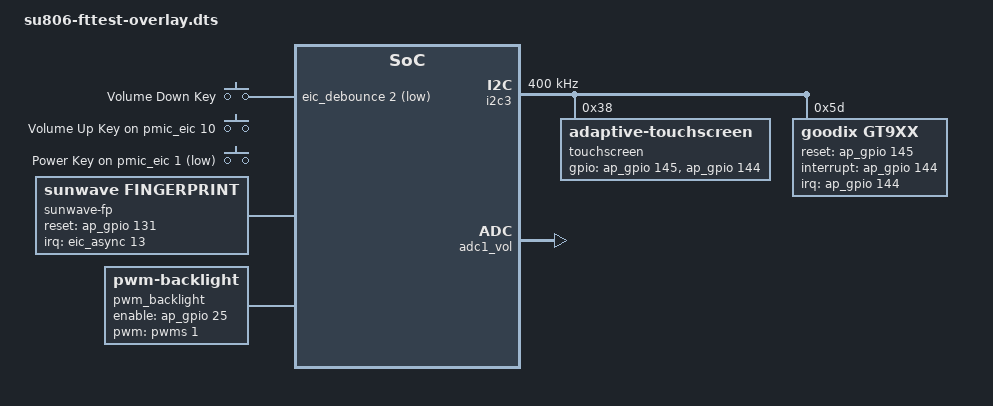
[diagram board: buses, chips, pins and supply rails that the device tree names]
/*
 * Spreadtrum sharkle sp9832e board DTS file
 *
 * Copyright (C) 2019, Spreadtrum Communications Inc.
 *
 * This file is licensed under a dual GPLv2 or X11 license.
 */
/dts-v1/;
/plugin/;
#include <dt-bindings/input/input.h>
#include <dt-bindings/gpio/gpio.h>

#include <dt-bindings/input/input.h>
#include <dt-bindings/gpio/gpio.h>

/ {
	/*
	* When create a new node, we should use the key word __overlay__,
	* otherwise u-boot can not analyze it.
	*/
	fragment {
		target-path = "/";
		__overlay__ {
			gpio-keys {
				compatible = "gpio-keys";

				key-volumedown {
					label = "Volume Down Key";
					linux,code = <KEY_VOLUMEDOWN>;
					gpios = <&eic_debounce 2 GPIO_ACTIVE_LOW>;/*changed by yangjiakun 2020-6-8*/
					debounce-interval = <2>;
					wakeup-source;
				};

				key-volumeup {
					label = "Volume Up Key";
					linux,code = <KEY_VOLUMEUP>;
					gpios = <&pmic_eic 10 GPIO_ACTIVE_HIGH>;
					debounce-interval = <2>;
					wakeup-source;
				};

				key-power {
					label = "Power Key";
					linux,code = <KEY_POWER>;
					gpios = <&pmic_eic 1 GPIO_ACTIVE_LOW>;
					debounce-interval = <2>;
					wakeup-source;
				};
			};

			sunwave-fp {
				compatible = "sunwave,fingerprint";
				sunwave,reset-gpio = <&ap_gpio 131 0>;
				sunwave,irq-gpio = <&eic_async 13 0>;
			};

			pwm_backlight: sprd_backlight {
				compatible = "pwm-backlight";
				pwms = <&pwms 1 20000>;
				pwm-names = "backlight";
				pwm-bl-invert;
				enable-gpios = <&ap_gpio 25 0>;
				brightness-levels = <
								  2   2   2   2
					  2   2   2   3   4   5   6   7   8   9
					 10  11  12  13  14  15  16  17  18  19
					 20  21  22  23  24  25  26  27  28  29
					 30  31  32  33  34  35  36  37  38  39
					 40  41  42  43  44  45  46  47  48  49
					 50  51  52  53  54  55  56  57  58  59
					 60  61  62  63  64  65  66  67  68  69
					 70  71  72  73  74  75  76  77  78  79
					 80  81  82  83  84  85  86  87  88  89
					 90  91  92  93  94  95  96  97  98  99
					100 101 102 103 104 105 106 107 108 109
					110 111 112 113 114 115 116 117 118 119
					120 121 122 123 124 125 126 127 128 129
					130 131 132 133 134 135 136 137 138 139
					140 141 142 143 144 145 146 147 148 149
					150 151 152 153 154 155 156 157 158 159
					160 161 162 163 164 165 166 167 168 169
					170 171 172 173 174 175 176 177 178 179
					180 181 182 183 184 185 186 187 188 189
					190 191 192 193 194 195 196 197 198 199
					200 201 202 203 204 205 206 207 208 209
					210 211 212 213 214 215 216 217 218 219
					220 221 222 223 224 225 226 227 228 229
					230 231 232 233 234 235 236 237 238 239
					240 241 242 243 244 245 246 247 248 249
					250 251
					>;
				default-brightness-level = <33>;
			};

		};
	};
};

&i2c2 {
	status = "disabled";
	clock-frequency = <400000>;
	bma2x2@19{
		compatible = "BOSCH,bma2x2";
		reg = <0x19>;
		gpios = <&ap_gpio 55 GPIO_ACTIVE_HIGH>;
	};

	akm-09911@0d{
		compatible = "ak,akm099xx";
		reg = <0x0d>;
		gpios = <&ap_gpio 53 GPIO_ACTIVE_HIGH>;
	};

	ltr-558als@23{
		compatible = "LITEON,ltr_558als";
		reg = <0x23>;
		gpios = <&ap_gpio 52 GPIO_ACTIVE_HIGH>;
		sensitive = <1000 40 35 1200 1000 48>;
		luxcorrection = <3500>;
	};
	
	mpu6050@68{
                compatible = "invn,mpu6050";
                reg = <0x68>;
                gpios = <&ap_gpio 125 0>;
        };

        stk3x1x@48 {
                compatible = "stk,stk3x1x";
                reg = <0x48>;
                gpios = <&ap_gpio 90 0>;
        };
};

&i2c3 {
	status = "okay";
	clock-frequency = <400000>;

	touchscreen@38 {
		compatible = "adaptive-touchscreen";
		reg = <0x38>;
		gpios = <&ap_gpio 145 GPIO_ACTIVE_HIGH
			&ap_gpio 144 GPIO_ACTIVE_HIGH>;
		controller = "focaltech,ft5436";
		virtualkeys = <580 60 1320 60 45
				172 360 1320 60 45
				158 600 1320 60 45>;
		surface-width = <720>;
		surface-height = <1280>;
		private-data {
			a8 = /bits/ 8 <0x5A>;
		};
	};
	
	goodix@5d {
            compatible = "goodix,gt9xx";
            reg = <0x5d>;
			interrupt-parent = <&ap_gpio>;
            interrupts = <144 0x2008>;
            reset-gpios = <&ap_gpio 145 0x0>;
            interrupt-gpios = <&ap_gpio 144 0x2002>;
            goodix,panel-coords = <0 0 720 1360>;
            goodix,display-coords = <0 0 720 1280>;
            goodix,button-map = <139 102 158>;
            goodix,enable-power-off;
            goodix,product-id = <968 915 9147 9157 5668>;
            goodix,fw_name = "gtp_fw.bin";
            goodix,have-touch-key;
            goodix,driver-send-cfg;
			goodix,cfg-data0-0 = [
                        FF D0 02 00 05 05 05 00 01 00
                        00 0F 50 3C 53 11 00 00 00 00
                        14 17 19 1E 0A 04 00 00 00 00
                        00 00 53 00 14 00 00 84 00 00
                        3C 19 19 64 1E 28 8B 0B 0C 37
                        39 0C 08 20 33 00 03 02 24 00
                        00 23 50 80 14 02 00 00 54 B1
                        2A 99 32 8B 39 80 41 78 48 71
                        00 00 00 00 00 00 00 F0 50 3C
                        FF FF 27 00 00 00 0E 14 14 03
                        04 00 21 64 0A 00 00 00 00 00
                        00 00 00 00 00 00 00 00 00 00
                        00 00 00 00 00 00 00 00 00 00
                        32 20 50 3C 3C 00 00 00 00 00
                        01 08 02 09 03 0A 04 0B 05 0C
                        06 0D FF FF 0C 0D 0E 0F 10 11
                        12 13 14 16 15 07 08 09 06 05
                        04 03 02 01 00 0A FF FF FF FF
                        00 00 00 00 00 00 00 00 00 00
                        00 00 00 00 3C 00 05 1E 00 02
                        2A 1E 19 14 02 00 03 0A 05 00
                        00 00 00 00 00 00 01 FF FF 86
                        22 03 00 00 33 00 0F 00 00 00
                        46 32 50 00 00 00 90 4D 01
                ];
                 goodix,cfg-data2-0 = [
                        43 D0 02 00 05 0A 35 00 01 08
                        28 05 50 32 03 05 00 00 FF 7F
                        00 00 00 18 1A 1E 14 8A 08 0B
                        2A 2C 0C 08 00 00 02 9B 33 1D
                        00 01 00 00 00 00 00 32 00 00
                        1B 19 55 94 C5 02 07 00 00 04
                        B9 1C 00 93 24 00 76 2E 00 5F
                        3B 00 4E 4B 00 4E 00 00 00 00
                        F0 4A 3A FF FF 27 00 00 00 00
                        00 00 00 00 00 00 00 00 00 00
                        00 00 00 00 00 00 00 0F 00 00
                        44 2D 02 04 06 08 0A 0C 0E 10
                        12 14 16 FF FF FF 00 00 00 00
                        00 00 00 00 00 00 00 00 00 00
                        00 00 18 16 12 10 0F 0C 0A 08
                        06 04 02 00 1C 1D 1E 1F 20 21
                        FF FF FF FF FF FF FF FF 00 00
                        00 FF FF FF FF FF FF FF FF FF
                        FF FF FF FF 28 01
                ];
    };
};

&soc {
	adc1_vol: ght,adc1-vol {
		compatible = "ght,adc1-test";
		io-channels = <&pmic_adc 1>;
		io-channel-names = "adc1_vol";
	};
};

&panel {
	sprd,backlight = <&pwm_backlight>;
};

&fan54015_chg {
	status = "disabled";
};

&ddr_dfs {
	sprd-scene = "boost", "lcdon", "lcdoff", "camlow", "camhigh";
	sprd-freq = <667 384 256 384 667>;
};
